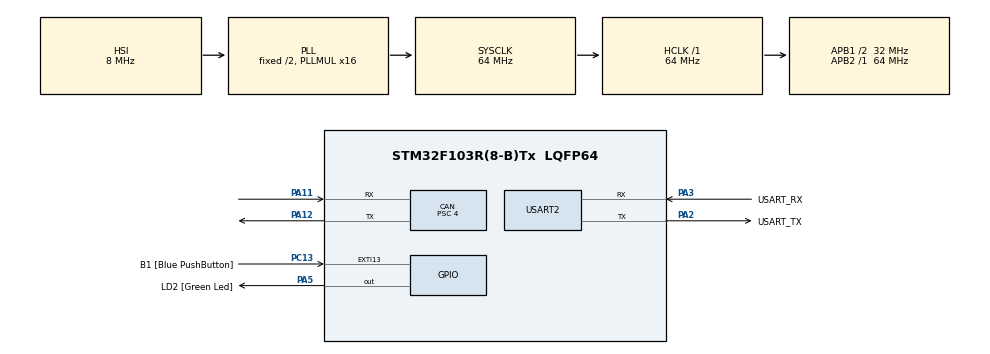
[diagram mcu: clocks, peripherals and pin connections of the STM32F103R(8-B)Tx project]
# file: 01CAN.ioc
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CAN.BS1=CAN_BS1_13TQ
CAN.BS2=CAN_BS2_2TQ
CAN.CalculateBaudRate=500000
CAN.CalculateTimeBit=2000
CAN.CalculateTimeQuantum=125.0
CAN.Mode=CAN_MODE_LOOPBACK
CAN.Prescaler=4
Mcu.Family=STM32F1
Mcu.Name=STM32F103R(8-B)Tx
Mcu.Package=LQFP64
NVIC.EXTI15_10_IRQn=true\:0\:0\:false\:false\:true\:true\:true\:true
NVIC.PriorityGroup=NVIC_PRIORITYGROUP_4
NVIC.USB_LP_CAN1_RX0_IRQn=true\:0\:0\:false\:false\:true\:true\:true\:true
PA11.Mode=CAN_Activate
PA11.Signal=CAN_RX
PA12.Mode=CAN_Activate
PA12.Signal=CAN_TX
PA13.GPIO_Label=TMS
PA13.Mode=Serial_Wire
PA13.Signal=SYS_JTMS-SWDIO
PA14.GPIO_Label=TCK
PA14.Mode=Serial_Wire
PA14.Signal=SYS_JTCK-SWCLK
PA2.GPIO_Label=USART_TX
PA2.GPIO_Mode=GPIO_MODE_AF_PP
PA2.GPIO_PuPd=GPIO_NOPULL
PA2.GPIO_Speed=GPIO_SPEED_FREQ_LOW
PA2.Mode=Asynchronous
PA2.Signal=USART2_TX
PA3.GPIO_Label=USART_RX
PA3.GPIO_Mode=GPIO_MODE_AF_PP
PA3.GPIO_PuPd=GPIO_NOPULL
PA3.GPIO_Speed=GPIO_SPEED_FREQ_LOW
PA3.Mode=Asynchronous
PA3.Signal=USART2_RX
PA5.GPIO_Label=LD2 [Green Led]
PA5.GPIO_ModeDefaultOutputPP=GPIO_MODE_OUTPUT_PP
PA5.GPIO_PuPd=GPIO_NOPULL
PA5.GPIO_Speed=GPIO_SPEED_FREQ_LOW
PA5.Signal=GPIO_Output
PB3.GPIO_Label=SWO
PB3.Signal=SYS_JTDO-TRACESWO
PC13-TAMPER-RTC.GPIO_Label=B1 [Blue PushButton]
PC13-TAMPER-RTC.GPIO_PuPd=GPIO_NOPULL
PC13-TAMPER-RTC.Signal=GPXTI13
PC14-OSC32_IN.Mode=LSE-External-Oscillator
PC14-OSC32_IN.Signal=RCC_OSC32_IN
PC15-OSC32_OUT.Mode=LSE-External-Oscillator
PC15-OSC32_OUT.Signal=RCC_OSC32_OUT
PD0-OSC_IN.Mode=HSE-External-Clock-Source
PD0-OSC_IN.Signal=RCC_OSC_IN
PD1-OSC_OUT.Mode=HSE-External-Clock-Source
PD1-OSC_OUT.Signal=RCC_OSC_OUT
ProjectManager.HeapSize=0x200
ProjectManager.StackSize=0x400
ProjectManager.TargetToolchain=STM32CubeIDE
RCC.AHBFreq_Value=64000000
RCC.APB1CLKDivider=RCC_HCLK_DIV2
RCC.APB1Freq_Value=32000000
RCC.APB1TimFreq_Value=64000000
RCC.APB2Freq_Value=64000000
RCC.APB2TimFreq_Value=64000000
RCC.HCLKFreq_Value=64000000
RCC.PLLMUL=RCC_PLL_MUL16
RCC.RTCClockSelection=RCC_RTCCLKSOURCE_LSE
RCC.SYSCLKFreq_VALUE=64000000
RCC.SYSCLKSource=RCC_SYSCLKSOURCE_PLLCLK
RCC.USBFreq_Value=64000000
USART2.VirtualMode=VM_ASYNC
board=NUCLEO-F103RB

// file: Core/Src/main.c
/* USER CODE BEGIN Header */
/**
  ******************************************************************************
  * @file           : main.c
  * @brief          : Main program body
  ******************************************************************************
  * @attention
  *
  * Copyright (c) 2025 STMicroelectronics.
  * All rights reserved.
  *
  * This software is licensed under terms that can be found in the LICENSE file
  * in the root directory of this software component.
  * If no LICENSE file comes with this software, it is provided AS-IS.
  *
  ******************************************************************************
  */
/* USER CODE END Header */
#include "main.h"
#include <stdio.h>

CAN_HandleTypeDef hcan;
UART_HandleTypeDef huart2;

// rx
volatile uint8_t Rx_ready = 0;
CAN_RxHeaderTypeDef Rxheader;
uint8_t Rxdata[8];

void SystemClock_Config(void);
static void MX_GPIO_Init(void);
static void MX_CAN_Init(void);
static void MX_USART2_UART_Init(void);
/* USER CODE BEGIN PFP */
static void CAN_DumpDiag(void);
/* USER CODE END PFP */

/* USER CODE BEGIN 0 */

// printf 호출하는 저수준 쓰기 함수 재정의
int _write(int file, char* ptr, int len){
	HAL_UART_Transmit(&huart2, (uint8_t*)ptr, len, HAL_MAX_DELAY);
	return len;
}

// CAN filter function
static void CAN_Filter_AllPass(void) {
	  CAN_FilterTypeDef f = {0};
	  f.FilterBank = 0;
	  f.FilterMode = CAN_FILTERMODE_IDMASK;
	  f.FilterScale = CAN_FILTERSCALE_32BIT;
	  f.FilterIdHigh = 0x0000;
	  f.FilterIdLow  = 0x0000;
	  f.FilterMaskIdHigh = 0x0000;
	  f.FilterMaskIdLow  = 0x0000;           // 모든 ID 허용
	  f.FilterFIFOAssignment = CAN_RX_FIFO0;
	  f.FilterActivation = ENABLE;
	  f.SlaveStartFilterBank = 14;           // F1에서 무해한 기본값
	  HAL_CAN_ConfigFilter(&hcan, &f);
}
/* USER CODE END 0 */

int main(void)
{

  /* MCU Configuration--------------------------------------------------------*/

  /* Reset of all peripherals, Initializes the Flash interface and the Systick. */
  HAL_Init();

  /* Configure the system clock */
  SystemClock_Config();

  /* Initialize all configured peripherals */
  MX_GPIO_Init();
  MX_CAN_Init();
  MX_USART2_UART_Init();
  /* USER CODE BEGIN 2 */
  printf("\r\n=== bxCAN RPI Test ===\r\n");

  CAN_Filter_AllPass(); // 필터 적용

  HAL_StatusTypeDef st;

  /* CAN start + 에러 확인 */
  st = HAL_CAN_Start(&hcan);
  if (st != HAL_OK) {
      printf("HAL_CAN_Start FAIL, err=0x%08lX\r\n",
             (unsigned long)HAL_CAN_GetError(&hcan));
      while (1) { }  // 여기 걸리면 하드웨어 초기화 단계 문제
  }
  printf("HAL_CAN_Start OK\r\n");

  /* 알림 활성화 (RX/에러/버스오프) */
  st = HAL_CAN_ActivateNotification(&hcan,
      CAN_IT_RX_FIFO0_MSG_PENDING |
      CAN_IT_ERROR_WARNING | CAN_IT_ERROR_PASSIVE |
      CAN_IT_BUSOFF | CAN_IT_LAST_ERROR_CODE);
  printf("ActivateNotification %s\r\n", (st==HAL_OK) ? "OK" : "FAIL");

  /* 송신 프레임 */
  CAN_TxHeaderTypeDef TxHeader = {0};
  uint8_t TxData[8] = {'H','E','L','L','O','!','J','H'};
  uint32_t mailbox;
  TxHeader.StdId = 0x123;
  TxHeader.IDE   = CAN_ID_STD;
  TxHeader.RTR   = CAN_RTR_DATA;
  TxHeader.DLC   = 8;
  /* USER CODE END 2 */

  /* Infinite loop */
  /* USER CODE BEGIN WHILE */
  while (1)
  {
      /* 송신 시도 */
      st = HAL_CAN_AddTxMessage(&hcan, &TxHeader, TxData, &mailbox);
      printf("[CAN] AddTx=%d, mbx=%lu\r\n", (int)st, (unsigned long)mailbox);

      if (st == HAL_OK) {
          /* 전송 완료 대기(타임아웃 100ms) */
          uint32_t t0 = HAL_GetTick();
          while (HAL_CAN_IsTxMessagePending(&hcan, mailbox)) {
              if (HAL_GetTick() - t0 > 100) {
                  printf("[CAN] TX wait TIMEOUT\r\n");
                  break;
              }
          }
          printf("[CAN] TX done\r\n");
          CAN_DumpDiag();
      } else {
          printf("[CAN] Tx enqueue failed, err=0x%08lX\r\n",
                 (unsigned long)HAL_CAN_GetError(&hcan));
          CAN_DumpDiag();
      }

      /* 수신 로그 (옵션) */
      if (Rx_ready) {
          Rx_ready = 0;
          printf("RX 0x%03lX DLC:%lu Data:",
                 (unsigned long)Rxheader.StdId, (unsigned long)Rxheader.DLC);
          for (uint32_t i=0; i<Rxheader.DLC; ++i) printf(" %02X", Rxdata[i]);
          printf("\r\n");
      }

      HAL_Delay(500);
  }
  /* USER CODE END 3 */
}

void SystemClock_Config(void)
{
  RCC_OscInitTypeDef RCC_OscInitStruct = {0};
  RCC_ClkInitTypeDef RCC_ClkInitStruct = {0};

  /** Initializes the RCC Oscillators according to the specified parameters
  * in the RCC_OscInitTypeDef structure.
  */
  RCC_OscInitStruct.OscillatorType = RCC_OSCILLATORTYPE_HSI;
  RCC_OscInitStruct.HSIState = RCC_HSI_ON;
  RCC_OscInitStruct.HSICalibrationValue = RCC_HSICALIBRATION_DEFAULT;
  RCC_OscInitStruct.PLL.PLLState = RCC_PLL_ON;
  RCC_OscInitStruct.PLL.PLLSource = RCC_PLLSOURCE_HSI_DIV2;
  RCC_OscInitStruct.PLL.PLLMUL = RCC_PLL_MUL16;
  if (HAL_RCC_OscConfig(&RCC_OscInitStruct) != HAL_OK)
  {
    Error_Handler();
  }

  /** Initializes the CPU, AHB and APB buses clocks
  */
  RCC_ClkInitStruct.ClockType = RCC_CLOCKTYPE_HCLK|RCC_CLOCKTYPE_SYSCLK
                              |RCC_CLOCKTYPE_PCLK1|RCC_CLOCKTYPE_PCLK2;
  RCC_ClkInitStruct.SYSCLKSource = RCC_SYSCLKSOURCE_PLLCLK;
  RCC_ClkInitStruct.AHBCLKDivider = RCC_SYSCLK_DIV1;
  RCC_ClkInitStruct.APB1CLKDivider = RCC_HCLK_DIV2;
  RCC_ClkInitStruct.APB2CLKDivider = RCC_HCLK_DIV1;

  if (HAL_RCC_ClockConfig(&RCC_ClkInitStruct, FLASH_LATENCY_2) != HAL_OK)
  {
    Error_Handler();
  }
}

static void MX_CAN_Init(void)
{

  hcan.Instance = CAN1;
  hcan.Init.Prescaler = 4;
  hcan.Init.Mode = CAN_MODE_NORMAL;
  hcan.Init.SyncJumpWidth = CAN_SJW_1TQ;
  hcan.Init.TimeSeg1 = CAN_BS1_13TQ;
  hcan.Init.TimeSeg2 = CAN_BS2_2TQ;
  hcan.Init.TimeTriggeredMode = DISABLE;
  hcan.Init.AutoBusOff = ENABLE;  // 에러 많아 BUS-OFF되면 자동 복귀
  hcan.Init.AutoWakeUp = ENABLE; // Sleep/Wake 자동
  hcan.Init.AutoRetransmission = ENABLE;
  hcan.Init.ReceiveFifoLocked = DISABLE;
  hcan.Init.TransmitFifoPriority = DISABLE;
  if (HAL_CAN_Init(&hcan) != HAL_OK)
  {
    Error_Handler();
  }

}

static void MX_USART2_UART_Init(void)
{

  huart2.Instance = USART2;
  huart2.Init.BaudRate = 115200;
  huart2.Init.WordLength = UART_WORDLENGTH_8B;
  huart2.Init.StopBits = UART_STOPBITS_1;
  huart2.Init.Parity = UART_PARITY_NONE;
  huart2.Init.Mode = UART_MODE_TX_RX;
  huart2.Init.HwFlowCtl = UART_HWCONTROL_NONE;
  huart2.Init.OverSampling = UART_OVERSAMPLING_16;
  if (HAL_UART_Init(&huart2) != HAL_OK)
  {
    Error_Handler();
  }

}

static void MX_GPIO_Init(void)
{
  GPIO_InitTypeDef GPIO_InitStruct = {0};

  /* GPIO Ports Clock Enable */
  __HAL_RCC_GPIOC_CLK_ENABLE();
  __HAL_RCC_GPIOD_CLK_ENABLE();
  __HAL_RCC_GPIOA_CLK_ENABLE();
  __HAL_RCC_GPIOB_CLK_ENABLE();

  /*Configure GPIO pin Output Level */
  HAL_GPIO_WritePin(LD2_GPIO_Port, LD2_Pin, GPIO_PIN_RESET);

  /*Configure GPIO pin : B1_Pin */
  GPIO_InitStruct.Pin = B1_Pin;
  GPIO_InitStruct.Mode = GPIO_MODE_IT_RISING;
  GPIO_InitStruct.Pull = GPIO_NOPULL;
  HAL_GPIO_Init(B1_GPIO_Port, &GPIO_InitStruct);

  /*Configure GPIO pin : LD2_Pin */
  GPIO_InitStruct.Pin = LD2_Pin;
  GPIO_InitStruct.Mode = GPIO_MODE_OUTPUT_PP;
  GPIO_InitStruct.Pull = GPIO_NOPULL;
  GPIO_InitStruct.Speed = GPIO_SPEED_FREQ_LOW;
  HAL_GPIO_Init(LD2_GPIO_Port, &GPIO_InitStruct);

  /* EXTI interrupt init*/
  HAL_NVIC_SetPriority(EXTI15_10_IRQn, 0, 0);
  HAL_NVIC_EnableIRQ(EXTI15_10_IRQn);

}

/* USER CODE BEGIN 4 */

// RX0 수신 콜백: RX FIFO0에 프레임이 들어오면 HAL이 이 콜백을 불러줌. -> 안전하게 16byte로 출력
void HAL_CAN_RxFifo0MsgPendingCallback(CAN_HandleTypeDef *phcan)
{
	if(HAL_CAN_GetRxMessage(phcan, CAN_RX_FIFO0,
            &Rxheader, Rxdata) == HAL_OK){
		Rx_ready = 1;
	}

}

void HAL_CAN_ErrorCallback(CAN_HandleTypeDef *h){
  uint32_t e = HAL_CAN_GetError(h);
  printf("CAN ERR: 0x%08lX\r\n", (unsigned long)e);
}

static void CAN_DumpDiag(void){
    uint32_t esr = CAN1->ESR;   // Error Status
    uint32_t tsr = CAN1->TSR;   // Tx Status
    uint8_t  rec = (esr >> 24) & 0xFF;
    uint8_t  tec = (esr >> 16) & 0xFF;
    uint8_t  lec = (esr >> 4)  & 0x07;
    printf("[CAN] ESR=0x%08lX REC=%u TEC=%u LEC=%u  TSR=0x%08lX\r\n",
        (unsigned long)esr, rec, tec, lec, (unsigned long)tsr);
}
/* USER CODE END 4 */

void Error_Handler(void)
{
  __disable_irq();
  while (1)
  {
  }
}
